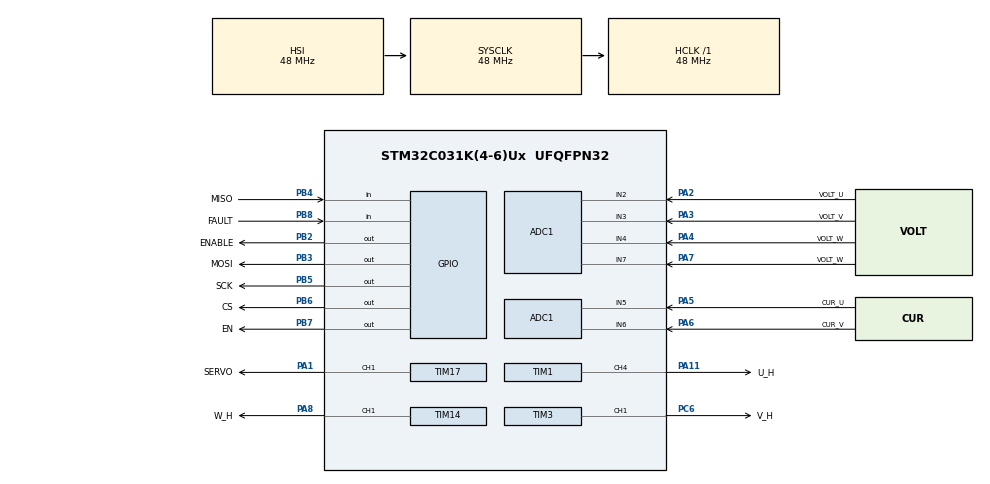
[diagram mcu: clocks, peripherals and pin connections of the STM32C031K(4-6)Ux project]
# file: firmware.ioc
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ADC1.Channel-0\#ChannelRegularConversion=ADC_CHANNEL_2
ADC1.NbrOfConversionFlag=1
ADC1.Rank-0\#ChannelRegularConversion=1
ADC1.SamplingTime-0\#ChannelRegularConversion=ADC_SAMPLINGTIME_COMMON_1
ADC1.SelectedChannel=ADC_CHANNEL_2|ADC_CHANNEL_3|ADC_CHANNEL_4|ADC_CHANNEL_5|ADC_CHANNEL_6|ADC_CHANNEL_7
ADC1.master=1
Mcu.Family=STM32C0
Mcu.Name=STM32C031K(4-6)Ux
Mcu.Package=UFQFPN32
PA1.GPIO_Label=SERVO
PA1.Signal=S_TIM17_CH1
PA11\ [PA9].GPIO_Label=U_H
PA11\ [PA9].Signal=S_TIM1_CH4
PA13.Mode=Serial_Wire
PA13.Signal=DEBUG_SWDIO
PA14-BOOT0.Mode=Serial_Wire
PA14-BOOT0.Signal=DEBUG_SWCLK
PA2.GPIO_Label=VOLT_U
PA2.Mode=IN2
PA2.Signal=ADC1_IN2
PA3.GPIO_Label=VOLT_V
PA3.Mode=IN3
PA3.Signal=ADC1_IN3
PA4.GPIO_Label=VOLT_W
PA4.Mode=IN4
PA4.Signal=ADC1_IN4
PA5.GPIO_Label=CUR_U
PA5.Mode=IN5
PA5.Signal=ADC1_IN5
PA6.GPIO_Label=CUR_V
PA6.Mode=IN6
PA6.Signal=ADC1_IN6
PA7.GPIO_Label=VOLT_W
PA7.Mode=IN7
PA7.Signal=ADC1_IN7
PA8.GPIO_Label=W_H
PA8.Signal=S_TIM14_CH1
PB2.GPIO_Label=ENABLE
PB2.Signal=GPIO_Output
PB3.GPIO_Label=MOSI
PB3.Signal=GPIO_Output
PB4.GPIO_Label=MISO
PB4.Signal=GPIO_Input
PB5.GPIO_Label=SCK
PB5.Signal=GPIO_Output
PB6.GPIO_Label=CS
PB6.Signal=GPIO_Output
PB7.GPIO_Label=EN
PB7.Signal=GPIO_Output
PB8.GPIO_Label=FAULT
PB8.Signal=GPIO_Input
PC14-OSCX_IN\ (PC14).Mode=HSE-External-Oscillator-REMAPPED
PC14-OSCX_IN\ (PC14).Signal=RCC_OSCX_IN
PC15-OSCX_OUT\ (PC15).Mode=HSE-External-Oscillator-REMAPPED
PC15-OSCX_OUT\ (PC15).Signal=RCC_OSCX_OUT
PC6.GPIO_Label=V_H
PC6.Signal=S_TIM3_CH1
ProjectManager.HeapSize=0x200
ProjectManager.StackSize=0x400
ProjectManager.TargetToolchain=Makefile
RCC.ADCFreq_Value=48000000
RCC.AHBFreq_Value=48000000
RCC.CortexFreq_Value=48000000
RCC.EXTERNAL_CLOCK_VALUE=12288000
RCC.HCLKFreq_Value=48000000
RCC.HSE_VALUE=8000000
RCC.HSISYSCLKDivider=RCC_HSI_DIV1
RCC.HSI_VALUE=48000000
RCC.LSE_VALUE=32768
RCC.SYSCLKFreq_VALUE=48000000
SH.S_TIM14_CH1.0=TIM14_CH1,PWM Generation1 CH1
SH.S_TIM17_CH1.0=TIM17_CH1,PWM Generation1 CH1
SH.S_TIM1_CH4.0=TIM1_CH4,PWM Generation4 CH4
SH.S_TIM3_CH1.0=TIM3_CH1,PWM Generation1 CH1
TIM1.Channel-PWM\ Generation4\ CH4=TIM_CHANNEL_4
TIM14.Channel=TIM_CHANNEL_1
TIM17.Channel=TIM_CHANNEL_1
TIM3.Channel-PWM\ Generation1\ CH1=TIM_CHANNEL_1
VP_TIM14_VS_ClockSourceINT.Mode=Enable_Timer
VP_TIM17_VS_ClockSourceINT.Mode=Enable_Timer
board=custom

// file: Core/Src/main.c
/* USER CODE BEGIN Header */
/**
  ******************************************************************************
  * @file           : main.c
  * @brief          : Main program body
  ******************************************************************************
  * @attention
  *
  * Copyright (c) 2024 STMicroelectronics.
  * All rights reserved.
  *
  * This software is licensed under terms that can be found in the LICENSE file
  * in the root directory of this software component.
  * If no LICENSE file comes with this software, it is provided AS-IS.
  *
  ******************************************************************************
  */
/* USER CODE END Header */
#include "main.h"
#include "adc.h"
#include "tim.h"
#include "gpio.h"

/* USER CODE BEGIN Includes */
#include "tmc6200.h"
/* USER CODE END Includes */

void SystemClock_Config(void);
/* USER CODE BEGIN PFP */
int a = 0;
/* USER CODE END PFP */

int main(void)
{
  /* USER CODE BEGIN 1 */
  int i = 2137;
  /* USER CODE END 1 */

  /* MCU Configuration--------------------------------------------------------*/

  /* Reset of all peripherals, Initializes the Flash interface and the Systick. */
  HAL_Init();

  /* Configure the system clock */
  SystemClock_Config();

  /* Initialize all configured peripherals */
  MX_GPIO_Init();
  MX_ADC1_Init();
  MX_TIM3_Init();
  MX_TIM14_Init();
  MX_TIM17_Init();
  MX_TIM1_Init();
  /* USER CODE BEGIN 2 */
  int n = 0;

  /*
  * Configuration Defines
  */
  #define LSB_FIRST 0
  #define DELAY_CYCLES 1

  /*
  *  Hardware Definitions for Pin Setting and Resetting
  *
  *  This driver does not initialize the pins.
  */

  #define CS_LOW  GPIOB->BSRR = GPIO_BSRR_BR6
  #define CS_HIGH GPIOB->BSRR = GPIO_BSRR_BS6

  #define MOSI_LOW  GPIOB->BSRR = GPIO_BSRR_BR3
  #define MOSI_HIGH GPIOB->BSRR = GPIO_BSRR_BS3

  #define SCK_LOW  GPIOB->BSRR = GPIO_BSRR_BR5
  #define SCK_HIGH GPIOB->BSRR = GPIO_BSRR_BS5

  //Returns non-zero if MISO is set, 0 if non set
  #define MISO_SET (GPIOB->IDR & GPIO_IDR_ID4)

  #define DELAY for (uint32_t i = 0; i < DELAY_CYCLES; i++) __NOP()

  uint32_t spi_bitbang_master_tx_rx_byte(uint8_t data) {
  uint32_t rx_data = 0;
  #if LSB_FIRST
    for (uint32_t i = 0; i < 8; i++) {
      if (data & (1 << i)) {
  #else
    for (int i = 31; i >= 0; i--) {
      if (data & (1 << i)) {
  #endif
        MOSI_HIGH;
      } else {
        MOSI_LOW;
      }
      SCK_HIGH;
      DELAY;
      if (MISO_SET)
        rx_data |= 1 << i;
      SCK_LOW;
      DELAY;
    }
    return rx_data;
}

  uint32_t rx = spi_bitbang_master_tx_rx_byte(0x02);
  /* USER CODE END 2 */

  /* Infinite loop */
  /* USER CODE BEGIN WHILE */
  while (1)
  {
	  HAL_Delay(1000);
	  n++;
    /* USER CODE END WHILE */

  }
}

void SystemClock_Config(void)
{
  RCC_OscInitTypeDef RCC_OscInitStruct = {0};
  RCC_ClkInitTypeDef RCC_ClkInitStruct = {0};

  /** Initializes the RCC Oscillators according to the specified parameters
  * in the RCC_OscInitTypeDef structure.
  */
  RCC_OscInitStruct.OscillatorType = RCC_OSCILLATORTYPE_HSI;
  RCC_OscInitStruct.HSIState = RCC_HSI_ON;
  RCC_OscInitStruct.HSIDiv = RCC_HSI_DIV1;
  RCC_OscInitStruct.HSICalibrationValue = RCC_HSICALIBRATION_DEFAULT;
  if (HAL_RCC_OscConfig(&RCC_OscInitStruct) != HAL_OK)
  {
    Error_Handler();
  }

  /** Initializes the CPU, AHB and APB buses clocks
  */
  RCC_ClkInitStruct.ClockType = RCC_CLOCKTYPE_HCLK|RCC_CLOCKTYPE_SYSCLK
                              |RCC_CLOCKTYPE_PCLK1;
  RCC_ClkInitStruct.SYSCLKSource = RCC_SYSCLKSOURCE_HSI;
  RCC_ClkInitStruct.SYSCLKDivider = RCC_SYSCLK_DIV1;
  RCC_ClkInitStruct.AHBCLKDivider = RCC_HCLK_DIV1;
  RCC_ClkInitStruct.APB1CLKDivider = RCC_APB1_DIV1;

  if (HAL_RCC_ClockConfig(&RCC_ClkInitStruct, FLASH_LATENCY_1) != HAL_OK)
  {
    Error_Handler();
  }
}

void Error_Handler(void)
{
  __disable_irq();
  while (1)
  {
  }
}
